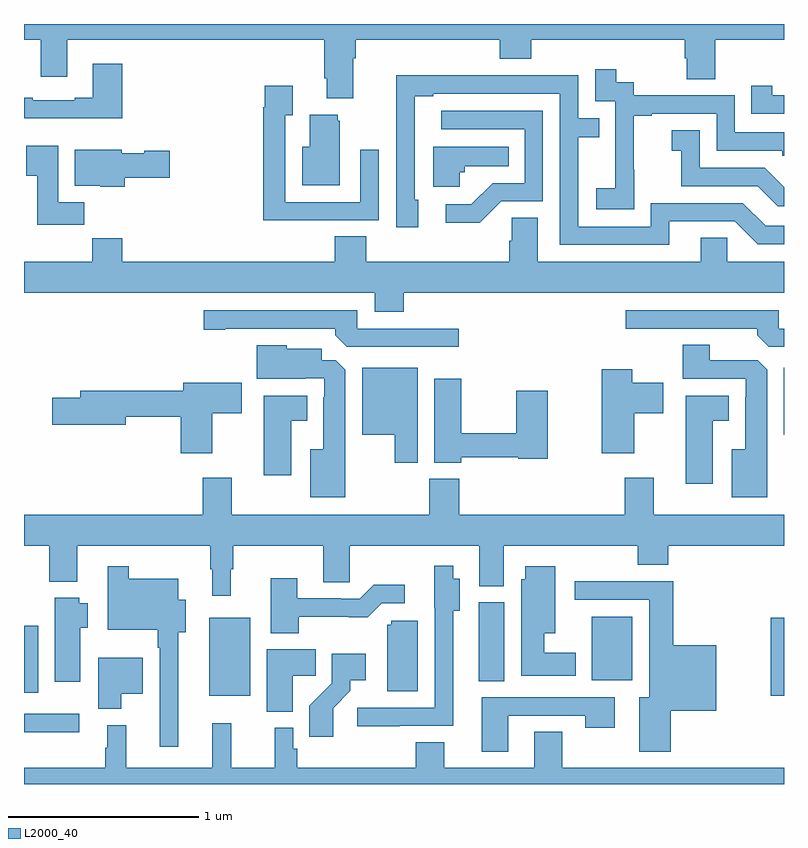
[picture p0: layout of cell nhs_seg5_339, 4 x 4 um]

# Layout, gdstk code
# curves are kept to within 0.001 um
import gdstk
lib = gdstk.Library(unit=1e-6, precision=1e-09)
def R(c, l, rs):  # rectangles x0, y0, x1, y1
    for r in rs: c.add(gdstk.rectangle(r[:2], r[2:], *l))
def P(c, l, *ps):  # polygons
    for p in ps: c.add(gdstk.Polygon(p, *l))
L2000_40 = (2000, 40)

nhs_seg5_339 = lib.new_cell('nhs_seg5_339')
R(nhs_seg5_339, L2000_40, [(131,897.072,131.29,897.168), (131.975,897.263,132.19,897.673), (134.93,897.263,135,897.673), (131,897.278,131.074,897.631), (133.394,897.34,133.528,897.756), (133.988,897.344,134.2,897.679), (134.999,898.637,135,898.99)])
P(nhs_seg5_339, L2000_40, [(132.733,900.62),(132.746,900.62),(132.746,900.716),(133.505,900.716),(133.505,900.617),(133.67,900.617),(133.67,900.716),(134.477,900.716),(134.477,900.618),(134.489,900.618),(134.489,900.508),(134.637,900.508),(134.637,900.716),(135,900.716),(135,900.799),(131,900.799),(131,900.716),(131.087,900.716),(131.087,900.522),(131.227,900.522),(131.227,900.716),(132.581,900.716),(132.581,900.514),(132.593,900.514),(132.593,900.407),(132.733,900.407)],
  [(131.516,900.589),(131.363,900.589),(131.363,900.412),(131.267,900.412),(131.267,900.399),(131.047,900.399),(131.047,900.412),(131,900.412),(131,900.302),(131.516,900.302)],
  [(134.211,900.031),(134.21,900.031),(134.21,900.315),(134.305,900.315),(134.305,900.327),(134.646,900.327),(134.646,900.132),(134.991,900.132),(134.991,900.105),(135,900.105),(135,900.228),(134.742,900.228),(134.742,900.423),(134.208,900.423),(134.208,900.492),(134.116,900.492),(134.116,900.562),(134.007,900.562),(134.007,900.393),(134.112,900.393),(134.112,900.164),(134.111,900.164),(134.111,899.935),(134.013,899.935),(134.013,899.825),(134.211,899.825)],
  [(134.395,899.76),(134.742,899.76),(134.862,899.64),(135,899.64),(135,899.736),(134.904,899.736),(134.784,899.856),(134.298,899.856),(134.298,899.733),(133.917,899.733),(133.917,900.202),(134.027,900.202),(134.027,900.303),(133.917,900.303),(133.917,900.528),(133.421,900.528),(133.421,900.53),(132.958,900.53),(132.958,900.223),(132.96,900.223),(132.96,899.73),(133.075,899.73),(133.075,899.874),(133.056,899.874),(133.056,900.42),(133.153,900.42),(133.153,900.432),(133.821,900.432),(133.821,899.637),(134.395,899.637)],
  [(135,900.423),(134.938,900.423),(134.938,900.475),(134.827,900.475),(134.827,900.327),(135,900.327)],
  [(132.551,899.766),(132.867,899.766),(132.867,900.136),(132.771,900.136),(132.771,899.862),(132.375,899.862),(132.375,900.319),(132.415,900.319),(132.415,900.475),(132.267,900.475),(132.267,900.362),(132.259,900.362),(132.259,899.765),(132.551,899.765)],
  [(133.512,899.865),(133.731,899.865),(133.731,900.342),(133.197,900.342),(133.197,900.246),(133.635,900.246),(133.635,899.961),(133.466,899.961),(133.355,899.85),(133.221,899.85),(133.221,899.753),(133.399,899.753)],
  [(132.661,900.291),(132.65,900.291),(132.65,900.322),(132.503,900.322),(132.503,900.154),(132.464,900.154),(132.464,899.951),(132.661,899.951)],
  [(135,899.94),(134.898,900.042),(134.556,900.042),(134.556,900.241),(134.409,900.241),(134.409,900.131),(134.458,900.131),(134.458,899.946),(134.861,899.946),(134.966,899.841),(135,899.841)],
  [(131.318,899.86),(131.179,899.86),(131.179,900.157),(131.012,900.157),(131.012,900.001),(131.069,900.001),(131.069,899.742),(131.318,899.742)],
  [(133.293,900.018),(133.32,900.018),(133.32,900.05),(133.55,900.05),(133.55,900.154),(133.154,900.154),(133.154,899.942),(133.293,899.942)],
  [(131.531,899.989),(131.767,899.989),(131.767,900.131),(131.634,900.131),(131.634,900.118),(131.514,900.118),(131.514,900.136),(131.267,900.136),(131.267,899.948),(131.4,899.948),(131.4,899.942),(131.531,899.942)],
  [(132.998,899.384),(135,899.384),(135,899.548),(134.7,899.548),(134.7,899.675),(134.561,899.675),(134.561,899.548),(133.705,899.548),(133.705,899.78),(133.566,899.78),(133.566,899.657),(133.553,899.657),(133.553,899.548),(132.8,899.548),(132.8,899.681),(132.635,899.681),(132.635,899.548),(131.516,899.548),(131.516,899.672),(131.359,899.672),(131.359,899.548),(131,899.548),(131,899.384),(132.845,899.384),(132.845,899.285),(132.998,899.285)],
  [(135,899.196),(134.973,899.196),(134.973,899.292),(134.166,899.292),(134.166,899.196),(134.858,899.196),(134.858,899.162),(134.919,899.1),(135,899.1)],
  [(133.288,899.196),(132.753,899.196),(132.753,899.292),(131.946,899.292),(131.946,899.191),(132.058,899.191),(132.058,899.196),(132.638,899.196),(132.638,899.162),(132.699,899.1),(133.288,899.1)],
  [(134.911,898.979),(134.862,899.028),(134.608,899.028),(134.608,899.111),(134.468,899.111),(134.468,898.932),(134.799,898.932),(134.799,898.835),(134.795,898.835),(134.795,898.561),(134.726,898.561),(134.726,898.307),(134.911,898.307)],
  [(132.691,898.979),(132.642,899.028),(132.568,899.028),(132.568,899.089),(132.384,899.089),(132.384,899.107),(132.224,899.107),(132.224,898.931),(132.479,898.931),(132.479,898.935),(132.579,898.935),(132.579,898.835),(132.575,898.835),(132.575,898.561),(132.506,898.561),(132.506,898.307),(132.691,898.307)],
  [(133.072,898.99),(132.779,898.99),(132.779,898.637),(132.95,898.637),(132.95,898.491),(133.072,898.491)],
  [(134.212,898.75),(134.365,898.75),(134.365,898.912),(134.2,898.912),(134.2,898.981),(134.042,898.981),(134.042,898.539),(134.212,898.539)],
  [(133.302,898.518),(133.602,898.518),(133.602,898.51),(133.756,898.51),(133.756,898.87),(133.591,898.87),(133.591,898.646),(133.302,898.646),(133.302,898.933),(133.16,898.933),(133.16,898.49),(133.302,898.49)],
  [(131.992,898.75),(132.145,898.75),(132.145,898.912),(131.837,898.912),(131.837,898.868),(131.297,898.868),(131.297,898.832),(131.148,898.832),(131.148,898.69),(131.536,898.69),(131.536,898.732),(131.825,898.732),(131.825,898.539),(131.992,898.539)],
  [(134.626,898.712),(134.71,898.712),(134.71,898.843),(134.483,898.843),(134.483,898.38),(134.626,898.38)],
  [(132.406,898.712),(132.49,898.712),(132.49,898.843),(132.263,898.843),(132.263,898.425),(132.406,898.425)],
  [(132.089,897.929),(132.1,897.929),(132.1,898.052),(132.575,898.052),(132.575,897.862),(132.714,897.862),(132.714,898.052),(133.397,898.052),(133.397,897.841),(133.525,897.841),(133.525,898.052),(134.23,898.052),(134.23,897.953),(134.39,897.953),(134.39,898.052),(135,898.052),(135,898.216),(134.314,898.216),(134.314,898.411),(134.162,898.411),(134.162,898.216),(133.292,898.216),(133.292,898.405),(133.132,898.405),(133.132,898.216),(132.094,898.216),(132.094,898.411),(131.942,898.411),(131.942,898.216),(131,898.216),(131,898.052),(131.134,898.052),(131.134,897.863),(131.281,897.863),(131.281,898.052),(131.979,898.052),(131.979,897.929),(131.99,897.929),(131.99,897.789),(132.089,897.789)],
  [(132.977,897.105),(133.258,897.105),(133.258,897.71),(133.294,897.71),(133.294,897.88),(133.258,897.88),(133.258,897.949),(133.16,897.949),(133.16,897.726),(133.161,897.726),(133.161,897.201),(132.753,897.201),(132.753,897.103),(132.977,897.103)],
  [(133.903,897.49),(133.738,897.49),(133.738,897.593),(133.795,897.593),(133.795,897.946),(133.637,897.946),(133.637,897.876),(133.616,897.876),(133.616,897.368),(133.903,897.368)],
  [(131.812,897.599),(131.851,897.599),(131.851,897.769),(131.812,897.769),(131.812,897.88),(131.551,897.88),(131.551,897.946),(131.442,897.946),(131.442,897.611),(131.703,897.611),(131.703,897.515),(131.715,897.515),(131.715,896.994),(131.812,896.994)],
  [(132.447,897.678),(132.809,897.677),(132.882,897.75),(133.003,897.75),(133.003,897.847),(132.841,897.847),(132.768,897.774),(132.668,897.774),(132.668,897.777),(132.439,897.777),(132.439,897.883),(132.299,897.883),(132.299,897.593),(132.447,897.593)],
  [(134.404,897.185),(134.644,897.185),(134.644,897.529),(134.417,897.529),(134.417,897.866),(133.899,897.866),(133.899,897.768),(134.291,897.768),(134.291,897.256),(134.237,897.256),(134.237,896.97),(134.404,896.97)],
  [(131.296,897.622),(131.335,897.622),(131.335,897.751),(131.292,897.751),(131.292,897.778),(131.162,897.778),(131.162,897.336),(131.296,897.336)],
  [(133.072,897.657),(132.933,897.657),(132.933,897.636),(132.911,897.636),(132.911,897.288),(133.072,897.288)],
  [(132.415,897.37),(132.536,897.37),(132.536,897.508),(132.278,897.508),(132.278,897.179),(132.415,897.179)],
  [(132.628,897.199),(132.718,897.289),(132.718,897.344),(132.799,897.344),(132.799,897.484),(132.621,897.484),(132.621,897.329),(132.502,897.21),(132.502,897.048),(132.628,897.048)],
  [(131.512,897.275),(131.626,897.275),(131.626,897.463),(131.39,897.463),(131.39,897.194),(131.512,897.194)],
  [(133.549,897.159),(133.954,897.159),(133.954,897.096),(134.11,897.096),(134.11,897.255),(133.409,897.255),(133.409,896.97),(133.549,896.97)],
  [(135,896.884),(133.833,896.884),(133.833,897.074),(133.685,897.074),(133.685,896.884),(133.213,896.884),(133.213,897.02),(133.061,897.02),(133.061,896.884),(132.437,896.884),(132.437,896.985),(132.417,896.985),(132.417,897.094),(132.319,897.094),(132.319,896.884),(132.09,896.884),(132.09,897.118),(131.99,897.118),(131.99,896.884),(131.537,896.884),(131.537,897.109),(131.438,897.109),(131.438,896.991),(131.427,896.991),(131.427,896.884),(131,896.884),(131,896.799),(135,896.799)])

lib.write_gds('nhs_seg5_339.gds')
